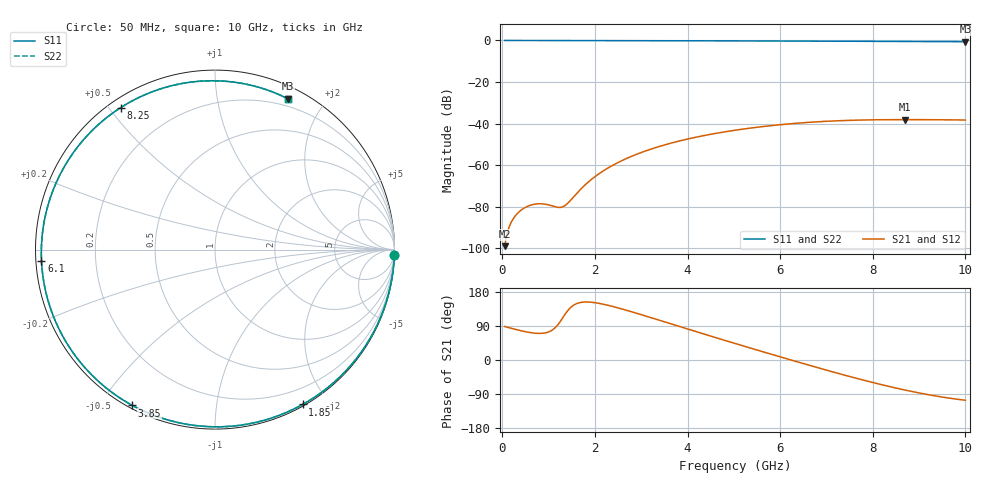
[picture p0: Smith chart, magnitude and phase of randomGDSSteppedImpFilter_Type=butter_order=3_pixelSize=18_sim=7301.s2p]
! freq	dB(S11)	phase(S11)	dB(S12)	phase(S12)
!  dB(S21)	phase(S21)	dB(S22)	phase(S22)
!S-par simulation data
#  GHz  S  DB  R 50
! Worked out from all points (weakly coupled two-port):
!   200 points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, 50 MHz to 10 GHz, reference 50 ohm
!   highest |S21| = -38.12 dB at 8.7 GHz (marker M1); lowest = -99.1 dB at 50 MHz (marker M2)
!   lowest |S11| = -0.6 dB at 10 GHz (marker M3), VSWR 28.98, Z = 6.08 + j79.3 ohm
!   |S11| at or under -10 dB: nowhere
!   |S22| runs from -0.6 to 0.0 dB; largest |S21 - S12| = 0
!   S11 on the Smith chart (normalised r, x): 50 MHz: 0, -67; 1.85 GHz: 0.02, -1.71; 3.85 GHz: 0.01, -0.60; 6.1 GHz: 0.02, -0.03; 8.25 GHz: 0.03, +0.54; 10 GHz: 0.12, +1.59
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0.05  -0.00 -1.7  -99.06 88.3  -99.06 88.3  -0.00 -1.7
0.5  -0.02 -16.8  -80.36 74.7  -80.36 74.7  -0.02 -16.8
0.8  -0.03 -26.8  -78.63 70.1  -78.63 70.1  -0.03 -26.8
1.3  -0.05 -43.1  -80.16 110.5  -80.16 110.5  -0.05 -43.1
1.4  -0.06 -46.3  -78.68 128.3  -78.68 128.3  -0.06 -46.3
1.75  -0.07 -57.4  -70.35 152.8  -70.35 152.8  -0.07 -57.4
1.85  -0.08 -60.5  -68.30 153.0  -68.30 153.0  -0.08 -60.5
2.15  -0.09 -69.7  -63.25 148.0  -63.25 148.0  -0.09 -69.7
2.5  -0.10 -80.1  -58.77 137.5  -58.77 137.5  -0.10 -80.1
3.4  -0.13 -105.8  -50.98 104.6  -50.98 104.6  -0.13 -105.8
3.85  -0.15 -118.0  -48.26 87.5  -48.26 87.5  -0.15 -118.0
4.45  -0.18 -133.8  -45.39 64.9  -45.39 64.9  -0.18 -133.8
5.05  -0.21 -149.3  -43.15 42.7  -43.15 42.7  -0.21 -149.3
5.6  -0.24 -163.4  -41.53 22.7  -41.53 22.7  -0.24 -163.4
6.1  -0.28 -176.3  -40.36 4.8  -40.36 4.8  -0.28 -176.3
6.7  -0.32 167.9  -39.31 -16.4  -39.31 -16.4  -0.32 167.8
7.45  -0.38 147.2  -38.50 -41.9  -38.50 -41.9  -0.38 147.2
8.25  -0.45 123.6  -38.16 -66.9  -38.16 -66.9  -0.45 123.5
8.35  -0.46 120.5  -38.14 -69.8  -38.14 -69.8  -0.46 120.4
8.7  -0.48 109.4  -38.12 -79.4  -38.12 -79.4  -0.49 109.2
9.35  -0.54 87.5  -38.17 -94.8  -38.17 -94.8  -0.54 87.3
10  -0.60 64.3  -38.32 -106.2  -38.32 -106.2  -0.60 64.0
